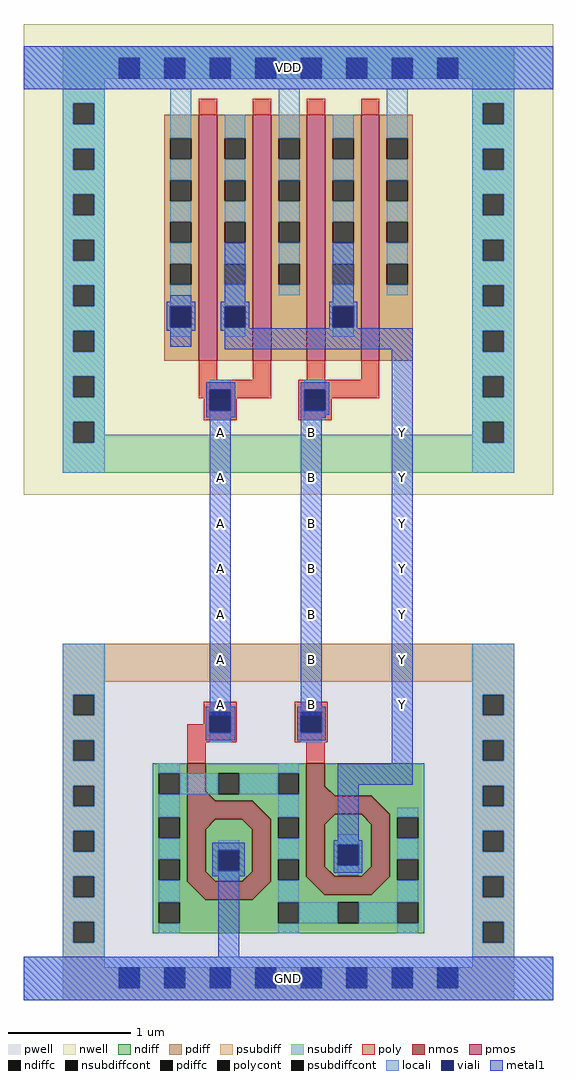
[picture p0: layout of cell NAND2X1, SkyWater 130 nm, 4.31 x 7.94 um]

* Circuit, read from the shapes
.subckt NAND2X1 Y A B VDD GND
XM1 n1 A GND GND sky130_fd_pr__nfet_01v8 w=2.6 l=0.1478
XM2 n1 B Y GND sky130_fd_pr__nfet_01v8 w=2.56 l=0.1468
XM3 Y A VDD VDD sky130_fd_pr__pfet_01v8 w=2 l=0.15 m=2
XM4 Y B VDD VDD sky130_fd_pr__pfet_01v8 w=2 l=0.15 m=2
.ends

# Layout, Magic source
magic
tech sky130A
magscale 1 2
<< nwell >>
rect 0 822 862 1588
<< pwell >>
rect 155 19 189 53
rect 64 0 798 16
<< psubdiff >>
rect 64 0 798 16
<< nsubdiff >>
rect 64 1548 798 1552
<< locali >>
rect 0 1482 862 1552
rect 0 0 862 70
<< metal1 >>
rect 0 1482 862 1552
rect 303 907 337 941
rect 451 907 485 941
rect 599 907 633 941
rect 303 833 337 867
rect 451 833 485 867
rect 599 833 633 867
rect 303 759 337 793
rect 451 759 485 793
rect 599 759 633 793
rect 303 685 337 719
rect 451 685 485 719
rect 599 685 633 719
rect 303 611 337 645
rect 451 611 485 645
rect 599 611 633 645
rect 303 537 337 571
rect 451 537 485 571
rect 599 537 633 571
rect 303 463 337 497
rect 451 463 485 497
rect 599 463 633 497
rect 0 0 862 70
use nand2x1_pcell  nand2x_pcell_0
transform 1 0 98 0 1 36
box -87 -34 753 1550
<< labels >>
rlabel metal1 599 685 633 719 1 Y
port 1 nsew signal output
rlabel metal1 599 759 633 793 1 Y
port 1 nsew signal output
rlabel metal1 599 833 633 867 1 Y
port 1 nsew signal output
rlabel metal1 599 907 633 941 1 Y
port 1 nsew signal output
rlabel metal1 599 611 633 645 1 Y
port 1 nsew signal output
rlabel metal1 599 537 633 571 1 Y
port 1 nsew signal output
rlabel metal1 599 463 633 497 1 Y
port 1 nsew signal output
rlabel metal1 303 833 337 867 1 A
port 2 nsew signal input
rlabel metal1 303 759 337 793 1 A
port 2 nsew signal input
rlabel metal1 303 685 337 719 1 A
port 2 nsew signal input
rlabel metal1 303 611 337 645 1 A
port 2 nsew signal input
rlabel metal1 303 537 337 571 1 A
port 2 nsew signal input
rlabel metal1 303 463 337 497 1 A
port 2 nsew signal input
rlabel metal1 303 907 337 941 1 A
port 2 nsew signal input
rlabel metal1 451 685 485 719 1 B
port 3 nsew signal input
rlabel metal1 451 759 485 793 1 B
port 3 nsew signal input
rlabel metal1 451 833 485 867 1 B
port 3 nsew signal input
rlabel metal1 451 907 485 941 1 B
port 3 nsew signal input
rlabel metal1 451 611 485 645 1 B
port 3 nsew signal input
rlabel metal1 451 537 485 571 1 B
port 3 nsew signal input
rlabel metal1 451 463 485 497 1 B
port 3 nsew signal input
rlabel metal1 0 1482 862 1552 1 VDD
port 4 nsew power bidirectional abutment
rlabel metal1 0 0 862 70 1 GND
port 5 nsew ground bidirectional abutment
<< properties >>
string FIXED_BBOX 0 0 862 1552
string LEFclass CORE
string LEFsite unitrh
string LEFsymmetry X Y
<< end >>

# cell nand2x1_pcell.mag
magic
tech sky130A
magscale 1 2
<< nwell >>
rect 87 786 579 1550
<< pwell >>
rect 34 542 632 544
rect -31 -30 697 542
rect 34 -34 632 -30
<< pdiff >>
rect 223 1093 269 1100
rect 223 1059 229 1093
rect 263 1059 269 1093
rect 223 1053 269 1059
rect 399 1093 445 1100
rect 399 1059 405 1093
rect 439 1059 445 1093
rect 399 1053 445 1059
<< pdiffc >>
rect 141 1059 175 1093
rect 229 1059 263 1093
rect 405 1059 439 1093
<< psubdiff >>
rect 34 542 632 544
rect 31 482 635 542
rect 31 480 34 482
rect 632 480 635 482
rect 31 -17 57 17
rect 91 -17 131 17
rect 165 -17 205 17
rect 239 -17 279 17
rect 313 -17 353 17
rect 387 -17 427 17
rect 461 -17 501 17
rect 535 -17 575 17
rect 609 -17 635 17
rect 31 -30 635 -17
rect 34 -34 632 -30
<< nsubdiff >>
rect 34 1497 632 1514
rect 34 1463 57 1497
rect 91 1463 131 1497
rect 165 1463 205 1497
rect 239 1463 279 1497
rect 313 1463 353 1497
rect 387 1463 427 1497
rect 461 1463 501 1497
rect 535 1463 575 1497
rect 609 1463 632 1497
rect 34 822 632 884
<< psubdiffcont >>
rect 57 -17 91 17
rect 131 -17 165 17
rect 205 -17 239 17
rect 279 -17 313 17
rect 353 -17 387 17
rect 427 -17 461 17
rect 501 -17 535 17
rect 575 -17 609 17
<< nsubdiffcont >>
rect 57 1463 91 1497
rect 131 1463 165 1497
rect 205 1463 239 1497
rect 279 1463 313 1497
rect 353 1463 387 1497
rect 427 1463 461 1497
rect 501 1463 535 1497
rect 575 1463 609 1497
<< poly >>
rect 168 375 198 413
rect 362 382 392 383
<< locali >>
rect -34 1497 634 1514
rect -34 1463 57 1497
rect 91 1463 131 1497
rect 165 1463 205 1497
rect 239 1463 279 1497
rect 313 1463 353 1497
rect 387 1463 427 1497
rect 461 1463 501 1497
rect 535 1463 575 1497
rect 609 1463 634 1497
rect -34 1446 634 1463
rect 141 1093 175 1122
rect 141 1043 175 1059
rect 229 1093 263 1122
rect 229 1043 263 1059
rect 405 1093 439 1122
rect 405 1043 439 1059
rect 33 17 659 34
rect 33 -17 57 17
rect 91 -17 131 17
rect 165 -17 205 17
rect 239 -17 279 17
rect 313 -17 353 17
rect 387 -17 427 17
rect 461 -17 501 17
rect 535 -17 575 17
rect 609 -17 659 17
rect 33 -34 659 -17
<< viali >>
rect 57 1463 91 1497
rect 131 1463 165 1497
rect 205 1463 239 1497
rect 279 1463 313 1497
rect 353 1463 387 1497
rect 427 1463 461 1497
rect 501 1463 535 1497
rect 575 1463 609 1497
rect 141 1059 175 1093
rect 229 1059 263 1093
rect 405 1059 439 1093
rect 205 923 239 957
rect 359 923 393 957
rect 205 399 239 433
rect 353 399 387 433
rect 219 174 253 208
rect 413 183 447 217
rect 57 -17 91 17
rect 131 -17 165 17
rect 205 -17 239 17
rect 279 -17 313 17
rect 353 -17 387 17
rect 427 -17 461 17
rect 501 -17 535 17
rect 575 -17 609 17
<< metal1 >>
rect -34 1497 700 1514
rect -34 1463 57 1497
rect 91 1463 131 1497
rect 165 1463 205 1497
rect 239 1463 279 1497
rect 313 1463 353 1497
rect 387 1463 427 1497
rect 461 1463 501 1497
rect 535 1463 575 1497
rect 609 1463 700 1497
rect -34 1446 700 1463
rect 141 1100 175 1111
rect 229 1100 263 1196
rect 405 1100 439 1196
rect 135 1093 181 1100
rect 135 1059 141 1093
rect 175 1059 181 1093
rect 135 1053 181 1059
rect 223 1093 269 1100
rect 223 1059 229 1093
rect 263 1059 269 1093
rect 223 1057 269 1059
rect 399 1093 445 1100
rect 399 1059 405 1093
rect 439 1059 445 1093
rect 399 1057 445 1059
rect 223 1053 535 1057
rect 141 1027 175 1053
rect 229 1023 535 1053
rect 199 957 246 969
rect 199 923 205 957
rect 239 923 246 957
rect 199 912 246 923
rect 353 957 399 969
rect 353 923 359 957
rect 393 923 399 957
rect 353 916 399 923
rect 205 441 239 912
rect 353 911 394 916
rect 353 441 387 911
rect 198 433 246 441
rect 198 399 205 433
rect 239 399 246 433
rect 198 387 246 399
rect 347 433 394 441
rect 347 399 353 433
rect 387 399 394 433
rect 347 387 394 399
rect 501 348 535 1023
rect 413 314 535 348
rect 413 224 447 314
rect 209 208 262 220
rect 209 174 219 208
rect 253 174 262 208
rect 209 165 262 174
rect 407 217 453 224
rect 407 183 413 217
rect 447 183 453 217
rect 407 171 453 183
rect 219 34 253 165
rect -34 17 700 34
rect -34 -17 57 17
rect 91 -17 131 17
rect 165 -17 205 17
rect 239 -17 279 17
rect 313 -17 353 17
rect 387 -17 427 17
rect 461 -17 501 17
rect 535 -17 575 17
rect 609 -17 700 17
rect -34 -34 700 -17
use diff_ring_side  diff_ring_side_0
transform 1 0 666 0 1 0
box -87 -34 87 1550
use diff_ring_side  diff_ring_side_1
transform 1 0 0 0 1 0
box -87 -34 87 1550
use nmos_bottom  nmos_bottom_0
transform -1 0 360 0 1 73
box 0 0 248 302
use nmos_top_trim1  nmos_top_trim1_0
transform -1 0 554 0 1 73
box 0 0 248 309
use pmos2  pmos2_0
transform 1 0 43 0 1 1404
box 52 -461 352 42
use pmos2  pmos2_1
transform 1 0 219 0 1 1404
box 52 -461 352 42
use poly_li1_contact  poly_li1_contact_0
transform 0 1 223 -1 0 941
box -32 -28 34 26
use poly_li1_contact  poly_li1_contact_1
transform 0 1 223 -1 0 417
box -32 -28 34 26
use poly_li1_contact  poly_li1_contact_2
transform 0 -1 369 1 0 415
box -32 -28 34 26
use poly_li1_contact  poly_li1_contact_3
transform 0 1 377 -1 0 941
box -32 -28 34 26
<< end >>

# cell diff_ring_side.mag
magic
tech sky130A
magscale 1 2
<< nwell >>
rect -87 786 87 1550
<< pwell >>
rect -34 -34 34 544
<< psubdiff >>
rect -34 461 34 544
rect -34 427 -17 461
rect 17 427 34 461
rect -34 387 34 427
rect -34 353 -17 387
rect 17 353 34 387
rect -34 313 34 353
rect -34 279 -17 313
rect 17 279 34 313
rect -34 239 34 279
rect -34 205 -17 239
rect 17 205 34 239
rect -34 165 34 205
rect -34 131 -17 165
rect 17 131 34 165
rect -34 91 34 131
rect -34 57 -17 91
rect 17 57 34 91
rect -34 -34 34 57
<< nsubdiff >>
rect -34 1423 34 1514
rect -34 1389 -17 1423
rect 17 1389 34 1423
rect -34 1349 34 1389
rect -34 1315 -17 1349
rect 17 1315 34 1349
rect -34 1275 34 1315
rect -34 1241 -17 1275
rect 17 1241 34 1275
rect -34 1201 34 1241
rect -34 1167 -17 1201
rect 17 1167 34 1201
rect -34 1127 34 1167
rect -34 1093 -17 1127
rect 17 1093 34 1127
rect -34 1053 34 1093
rect -34 1019 -17 1053
rect 17 1019 34 1053
rect -34 979 34 1019
rect -34 945 -17 979
rect 17 945 34 979
rect -34 905 34 945
rect -34 871 -17 905
rect 17 871 34 905
rect -34 822 34 871
<< psubdiffcont >>
rect -17 427 17 461
rect -17 353 17 387
rect -17 279 17 313
rect -17 205 17 239
rect -17 131 17 165
rect -17 57 17 91
<< nsubdiffcont >>
rect -17 1389 17 1423
rect -17 1315 17 1349
rect -17 1241 17 1275
rect -17 1167 17 1201
rect -17 1093 17 1127
rect -17 1019 17 1053
rect -17 945 17 979
rect -17 871 17 905
<< locali >>
rect -34 1423 34 1514
rect -34 1389 -17 1423
rect 17 1389 34 1423
rect -34 1349 34 1389
rect -34 1315 -17 1349
rect 17 1315 34 1349
rect -34 1275 34 1315
rect -34 1241 -17 1275
rect 17 1241 34 1275
rect -34 1201 34 1241
rect -34 1167 -17 1201
rect 17 1167 34 1201
rect -34 1127 34 1167
rect -34 1093 -17 1127
rect 17 1093 34 1127
rect -34 1053 34 1093
rect -34 1019 -17 1053
rect 17 1019 34 1053
rect -34 979 34 1019
rect -34 945 -17 979
rect 17 945 34 979
rect -34 905 34 945
rect -34 871 -17 905
rect 17 871 34 905
rect -34 822 34 871
rect -34 461 34 544
rect -34 427 -17 461
rect 17 427 34 461
rect -34 387 34 427
rect -34 353 -17 387
rect 17 353 34 387
rect -34 313 34 353
rect -34 279 -17 313
rect 17 279 34 313
rect -34 239 34 279
rect -34 205 -17 239
rect 17 205 34 239
rect -34 165 34 205
rect -34 131 -17 165
rect 17 131 34 165
rect -34 91 34 131
rect -34 57 -17 91
rect 17 57 34 91
rect -34 -34 34 57
<< metal1 >>
rect -34 1446 34 1514
rect -34 -34 34 34
<< end >>

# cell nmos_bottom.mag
magic
tech sky130A
magscale 1 2
<< nmos >>
tri 146 215 162 231 se
rect 162 215 192 276
tri 56 185 86 215 se
rect 86 185 192 215
rect 56 84 86 185
tri 86 169 102 185 nw
tri 146 169 162 185 ne
tri 86 84 102 100 sw
tri 146 84 162 100 se
rect 162 84 192 185
tri 56 54 86 84 ne
rect 86 54 162 84
tri 162 54 192 84 nw
<< ndiff >>
rect 0 260 162 276
rect 0 226 10 260
rect 44 226 107 260
rect 141 231 162 260
rect 141 226 146 231
rect 0 215 146 226
tri 146 215 162 231 nw
rect 192 260 248 276
rect 192 226 204 260
rect 238 226 248 260
rect 0 188 56 215
rect 0 154 10 188
rect 44 154 56 188
tri 56 185 86 215 nw
rect 192 188 248 226
rect 0 120 56 154
rect 0 86 10 120
rect 44 86 56 120
rect 0 54 56 86
tri 86 169 102 185 se
rect 102 169 146 185
tri 146 169 162 185 sw
rect 86 135 162 169
rect 86 101 107 135
rect 141 101 162 135
rect 86 100 162 101
tri 86 84 102 100 ne
rect 102 84 146 100
tri 146 84 162 100 nw
rect 192 154 204 188
rect 238 154 248 188
rect 192 120 248 154
rect 192 86 204 120
rect 238 86 248 120
tri 56 54 86 84 sw
tri 162 54 192 84 se
rect 192 54 248 86
rect 0 50 248 54
rect 0 16 10 50
rect 44 16 204 50
rect 238 16 248 50
rect 0 0 248 16
<< ndiffc >>
rect 10 226 44 260
rect 107 226 141 260
rect 204 226 238 260
rect 10 154 44 188
rect 10 86 44 120
rect 107 101 141 135
rect 204 154 238 188
rect 204 86 238 120
rect 10 16 44 50
rect 204 16 238 50
<< poly >>
rect 162 276 192 302
<< locali >>
rect 10 260 44 276
rect 204 260 238 276
rect 44 226 107 260
rect 141 226 204 260
rect 10 188 44 226
rect 10 120 44 154
rect 204 188 238 226
rect 10 50 44 86
rect 107 135 141 151
rect 107 85 141 101
rect 204 120 238 154
rect 10 0 44 16
rect 204 50 238 86
rect 204 0 238 16
<< end >>

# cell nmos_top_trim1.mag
magic
tech sky130
magscale 1 2
<< nmos >>
tri 146 223 162 239 se
rect 162 223 192 276
tri 56 193 86 223 se
rect 86 193 192 223
rect 56 92 86 193
tri 86 177 102 193 nw
tri 146 177 162 193 ne
tri 86 92 102 108 sw
tri 146 92 162 108 se
rect 162 92 192 193
tri 56 62 86 92 ne
rect 86 62 162 92
tri 162 62 192 92 nw
<< ndiff >>
rect 0 239 162 276
rect 0 223 146 239
tri 146 223 162 239 nw
rect 192 260 248 276
rect 192 226 204 260
rect 238 226 248 260
rect 0 188 56 223
tri 56 193 86 223 nw
rect 0 154 10 188
rect 44 154 56 188
rect 0 120 56 154
rect 0 86 10 120
rect 44 86 56 120
tri 86 177 102 193 se
rect 102 177 146 193
tri 146 177 162 193 sw
rect 86 144 162 177
rect 86 110 107 144
rect 141 110 162 144
rect 86 108 162 110
tri 86 92 102 108 ne
rect 102 92 146 108
tri 146 92 162 108 nw
rect 192 188 248 226
rect 192 154 204 188
rect 238 154 248 188
rect 192 120 248 154
rect 0 62 56 86
tri 56 62 86 92 sw
tri 162 62 192 92 se
rect 192 86 204 120
rect 238 86 248 120
rect 192 62 248 86
rect 0 50 248 62
rect 0 16 10 50
rect 44 16 107 50
rect 141 16 204 50
rect 238 16 248 50
rect 0 0 248 16
<< ndiffc >>
rect 204 226 238 260
rect 10 154 44 188
rect 10 86 44 120
rect 107 110 141 144
rect 204 154 238 188
rect 204 86 238 120
rect 10 16 44 50
rect 107 16 141 50
rect 204 16 238 50
<< poly >>
rect 162 276 192 309
<< locali >>
rect 204 260 238 276
rect 10 188 44 204
rect 204 188 238 226
rect 10 120 44 154
rect 107 144 141 161
rect 107 94 141 110
rect 204 120 238 154
rect 10 50 44 86
rect 204 50 238 86
rect 44 16 107 50
rect 141 16 204 50
rect 10 0 44 16
rect 204 0 238 16
<< end >>

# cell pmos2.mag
magic
tech sky130A
magscale 1 2
<< nwell >>
rect 52 -436 352 36
<< pmos >>
rect 144 -400 174 0
rect 232 -400 262 0
<< pdiff >>
rect 88 -38 144 0
rect 88 -72 98 -38
rect 132 -72 144 -38
rect 88 -106 144 -72
rect 88 -140 98 -106
rect 132 -140 144 -106
rect 88 -174 144 -140
rect 88 -208 98 -174
rect 132 -208 144 -174
rect 88 -242 144 -208
rect 88 -276 98 -242
rect 132 -276 144 -242
rect 88 -400 144 -276
rect 174 -38 232 0
rect 174 -72 186 -38
rect 220 -72 232 -38
rect 174 -106 232 -72
rect 174 -140 186 -106
rect 220 -140 232 -106
rect 174 -174 232 -140
rect 174 -208 186 -174
rect 220 -208 232 -174
rect 174 -242 232 -208
rect 174 -276 186 -242
rect 220 -276 232 -242
rect 174 -400 232 -276
rect 262 -38 316 0
rect 262 -72 274 -38
rect 308 -72 316 -38
rect 262 -106 316 -72
rect 262 -140 274 -106
rect 308 -140 316 -106
rect 262 -174 316 -140
rect 262 -208 274 -174
rect 308 -208 316 -174
rect 262 -242 316 -208
rect 262 -276 274 -242
rect 308 -276 316 -242
rect 262 -400 316 -276
<< pdiffc >>
rect 98 -72 132 -38
rect 98 -140 132 -106
rect 98 -208 132 -174
rect 98 -276 132 -242
rect 186 -72 220 -38
rect 186 -140 220 -106
rect 186 -208 220 -174
rect 186 -276 220 -242
rect 274 -72 308 -38
rect 274 -140 308 -106
rect 274 -208 308 -174
rect 274 -276 308 -242
<< poly >>
rect 144 0 174 26
rect 232 0 262 26
rect 144 -431 174 -400
rect 232 -431 262 -400
rect 144 -461 262 -431
<< locali >>
rect 98 -38 132 42
rect 98 -106 132 -72
rect 98 -174 132 -140
rect 98 -242 132 -208
rect 98 -293 132 -276
rect 186 -38 220 0
rect 186 -106 220 -72
rect 186 -174 220 -140
rect 186 -242 220 -208
rect 186 -293 220 -276
rect 274 -38 308 42
rect 274 -106 308 -72
rect 274 -174 308 -140
rect 274 -242 308 -208
rect 274 -293 308 -276
<< end >>

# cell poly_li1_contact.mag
magic
tech sky130
<< poly >>
rect -16 8 17 13
rect -16 -9 -8 8
rect 9 -9 17 8
rect -16 -14 17 -9
<< polycont >>
rect -8 -9 9 8
<< locali >>
rect -16 -9 -8 8
rect 9 -9 17 8
<< end >>
